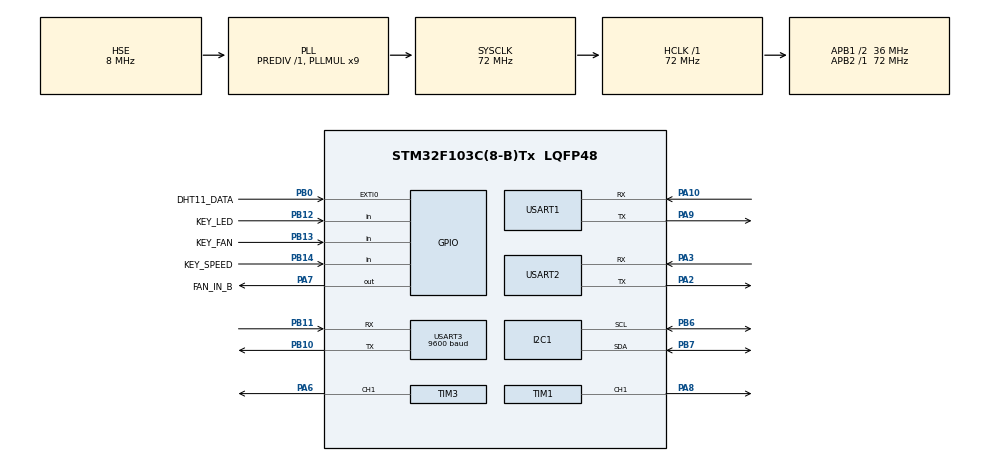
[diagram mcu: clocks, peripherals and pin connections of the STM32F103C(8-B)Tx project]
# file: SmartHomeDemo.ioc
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Mcu.Family=STM32F1
Mcu.Name=STM32F103C(8-B)Tx
Mcu.Package=LQFP48
NVIC.PriorityGroup=NVIC_PRIORITYGROUP_4
PA10.Mode=Asynchronous
PA10.Signal=USART1_RX
PA13.Mode=Serial_Wire
PA13.Signal=SYS_JTMS-SWDIO
PA14.Mode=Serial_Wire
PA14.Signal=SYS_JTCK-SWCLK
PA2.Mode=Asynchronous
PA2.Signal=USART2_TX
PA3.Mode=Asynchronous
PA3.Signal=USART2_RX
PA6.Signal=S_TIM3_CH1
PA7.GPIO_Label=FAN_IN_B
PA7.Signal=GPIO_Output
PA8.Signal=S_TIM1_CH1
PA9.Mode=Asynchronous
PA9.Signal=USART1_TX
PB0.GPIO_Label=DHT11_DATA
PB0.GPIO_ModeDefaultEXTI=GPIO_MODE_IT_RISING_FALLING
PB0.Signal=GPXTI0
PB10.Mode=Asynchronous
PB10.Signal=USART3_TX
PB11.Mode=Asynchronous
PB11.Signal=USART3_RX
PB12.GPIO_Label=KEY_LED
PB12.GPIO_PuPd=GPIO_PULLUP
PB12.Signal=GPIO_Input
PB13.GPIO_Label=KEY_FAN
PB13.GPIO_PuPd=GPIO_PULLUP
PB13.Signal=GPIO_Input
PB14.GPIO_Label=KEY_SPEED
PB14.GPIO_PuPd=GPIO_PULLUP
PB14.Signal=GPIO_Input
PB6.Mode=I2C
PB6.Signal=I2C1_SCL
PB7.Mode=I2C
PB7.Signal=I2C1_SDA
PD0-OSC_IN.Mode=HSE-External-Oscillator
PD0-OSC_IN.Signal=RCC_OSC_IN
PD1-OSC_OUT.Mode=HSE-External-Oscillator
PD1-OSC_OUT.Signal=RCC_OSC_OUT
ProjectManager.HeapSize=0x200
ProjectManager.StackSize=0x800
ProjectManager.TargetToolchain=MDK-ARM V5.32
RCC.ADCPresc=RCC_ADCPCLK2_DIV6
RCC.AHBFreq_Value=72000000
RCC.APB1CLKDivider=RCC_HCLK_DIV2
RCC.APB1Freq_Value=36000000
RCC.APB1TimFreq_Value=72000000
RCC.APB2Freq_Value=72000000
RCC.APB2TimFreq_Value=72000000
RCC.HCLKFreq_Value=72000000
RCC.PLLMUL=RCC_PLL_MUL9
RCC.PLLSourceVirtual=RCC_PLLSOURCE_HSE
RCC.RCC_MCOSource=RCC_MCO1SOURCE_PLLCLK
RCC.SYSCLKFreq_VALUE=72000000
RCC.SYSCLKSource=RCC_SYSCLKSOURCE_PLLCLK
RCC.USBFreq_Value=72000000
RCC.USBPrescaler=RCC_USBCLKSOURCE_PLL_DIV1_5
SH.S_TIM1_CH1.0=TIM1_CH1,PWM Generation1 CH1
SH.S_TIM3_CH1.0=TIM3_CH1,PWM Generation1 CH1
TIM1.Channel-PWM\ Generation1\ CH1=TIM_CHANNEL_1
TIM1.Period=999
TIM1.Prescaler=71
TIM2.Prescaler=71
TIM3.Channel-PWM\ Generation1\ CH1=TIM_CHANNEL_1
TIM3.Period=999
TIM3.Prescaler=71
USART1.VirtualMode=VM_ASYNC
USART2.VirtualMode=VM_ASYNC
USART3.BaudRate=9600
USART3.VirtualMode=VM_ASYNC
VP_TIM1_VS_ClockSourceINT.Mode=Internal
VP_TIM2_VS_ClockSourceINT.Mode=Internal
VP_TIM3_VS_ClockSourceINT.Mode=Internal
board=custom

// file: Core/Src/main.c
/* USER CODE BEGIN Header */
/**
  ******************************************************************************
  * @file           : main.c
  * @brief          : Main program body
  ******************************************************************************
  * @attention
  *
  * Copyright (c) 2026 STMicroelectronics.
  * All rights reserved.
  *
  * This software is licensed under terms that can be found in the LICENSE file
  * in the root directory of this software component.
  * If no LICENSE file comes with this software, it is provided AS-IS.
  *
  ******************************************************************************
  */
/* USER CODE END Header */
#include "main.h"
#include "i2c.h"
#include "tim.h"
#include "usart.h"
#include "gpio.h"

/* USER CODE BEGIN PV */
/* Watch these counters in Keil during the first board bring-up. */
volatile uint32_t g_r01_heartbeat = 0;
volatile uint32_t g_r01_uart_errors = 0;
static uint32_t r01_last_heartbeat_ms;
/* USER CODE END PV */

void SystemClock_Config(void);

/* USER CODE BEGIN 0 */
static void R01_Log(const char *text, uint16_t length)
{
  if (HAL_UART_Transmit(&huart1, (const uint8_t *)text, length, 100U) != HAL_OK)
  {
    ++g_r01_uart_errors;
  }
}
/* USER CODE END 0 */

int main(void)
{

  /* MCU Configuration--------------------------------------------------------*/

  /* Reset of all peripherals, Initializes the Flash interface and the Systick. */
  HAL_Init();

  /* Configure the system clock */
  SystemClock_Config();

  /* Initialize all configured peripherals */
  MX_GPIO_Init();
  MX_I2C1_Init();
  MX_USART1_UART_Init();
  MX_USART2_UART_Init();
  MX_USART3_UART_Init();
  MX_TIM1_Init();
  MX_TIM2_Init();
  MX_TIM3_Init();
  /* USER CODE BEGIN 2 */
  static const char boot_message[] =
    "\r\n[R01] SmartHomeDemo boot\r\n"
    "[R01] HSE=8MHz SYSCLK=72MHz APB1=36MHz APB2=72MHz\r\n"
    "[R01] USART1=115200 8N1; TIM2=1MHz; PWM outputs not started\r\n";

  if ((HAL_RCC_GetSysClockFreq() != 72000000U) ||
      (HAL_RCC_GetHCLKFreq() != 72000000U) ||
      (HAL_RCC_GetPCLK1Freq() != 36000000U) ||
      (HAL_RCC_GetPCLK2Freq() != 72000000U))
  {
    Error_Handler();
  }
  if (HAL_TIM_Base_Start(&htim2) != HAL_OK)
  {
    Error_Handler();
  }
  /* PWM channels stay stopped until their hardware modules are implemented. */
  R01_Log(boot_message, (uint16_t)(sizeof(boot_message) - 1U));
  r01_last_heartbeat_ms = HAL_GetTick();
  /* USER CODE END 2 */

  /* Infinite loop */
  while (1)
  {

    /* USER CODE BEGIN 3 */
    uint32_t now_ms = HAL_GetTick();
    if ((uint32_t)(now_ms - r01_last_heartbeat_ms) >= 1000U)
    {
      static const char heartbeat_message[] = "[R01] alive\r\n";
      r01_last_heartbeat_ms = now_ms;
      ++g_r01_heartbeat;
      R01_Log(heartbeat_message, (uint16_t)(sizeof(heartbeat_message) - 1U));
    }
  }
  /* USER CODE END 3 */
}

void SystemClock_Config(void)
{
  RCC_OscInitTypeDef RCC_OscInitStruct = {0};
  RCC_ClkInitTypeDef RCC_ClkInitStruct = {0};

  /** Initializes the RCC Oscillators according to the specified parameters
  * in the RCC_OscInitTypeDef structure.
  */
  RCC_OscInitStruct.OscillatorType = RCC_OSCILLATORTYPE_HSE;
  RCC_OscInitStruct.HSEState = RCC_HSE_ON;
  RCC_OscInitStruct.HSEPredivValue = RCC_HSE_PREDIV_DIV1;
  RCC_OscInitStruct.HSIState = RCC_HSI_ON;
  RCC_OscInitStruct.PLL.PLLState = RCC_PLL_ON;
  RCC_OscInitStruct.PLL.PLLSource = RCC_PLLSOURCE_HSE;
  RCC_OscInitStruct.PLL.PLLMUL = RCC_PLL_MUL9;
  if (HAL_RCC_OscConfig(&RCC_OscInitStruct) != HAL_OK)
  {
    Error_Handler();
  }

  /** Initializes the CPU, AHB and APB buses clocks
  */
  RCC_ClkInitStruct.ClockType = RCC_CLOCKTYPE_HCLK|RCC_CLOCKTYPE_SYSCLK
                              |RCC_CLOCKTYPE_PCLK1|RCC_CLOCKTYPE_PCLK2;
  RCC_ClkInitStruct.SYSCLKSource = RCC_SYSCLKSOURCE_PLLCLK;
  RCC_ClkInitStruct.AHBCLKDivider = RCC_SYSCLK_DIV1;
  RCC_ClkInitStruct.APB1CLKDivider = RCC_HCLK_DIV2;
  RCC_ClkInitStruct.APB2CLKDivider = RCC_HCLK_DIV1;

  if (HAL_RCC_ClockConfig(&RCC_ClkInitStruct, FLASH_LATENCY_2) != HAL_OK)
  {
    Error_Handler();
  }
}

void Error_Handler(void)
{
  __disable_irq();
  while (1)
  {
  }
}
